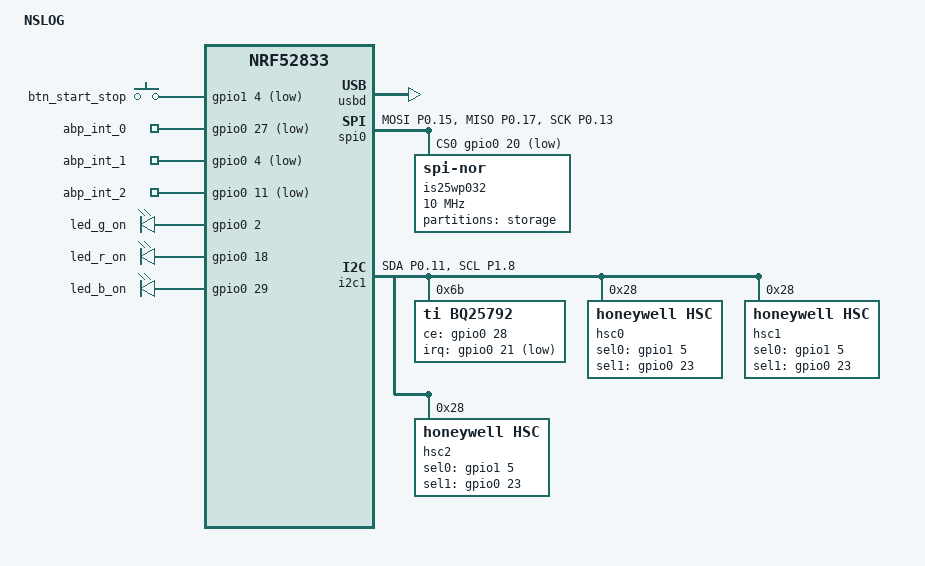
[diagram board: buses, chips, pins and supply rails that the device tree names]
// Copyright (c) 2022 Nordic Semiconductor ASA
// SPDX-License-Identifier: Apache-2.0

/dts-v1/;
#include <nordic/nrf52833_qiaa.dtsi>

/ {
	model = "NSLOG";
	compatible = "nooshee,nslog";

	chosen {
		zephyr,sram = &sram0;
		zephyr,flash = &flash0;
		zephyr,code-partition = &slot0_partition;
		zephyr,shell-uart = &cdc_acm_uart0;
		nordic,pm-ext-flash = &is25wp032;

	};

	ioctl {
		compatible = "gpio-keys";
		// UI 
		btn_start_stop { gpios = <&gpio1 4 GPIO_ACTIVE_LOW>; }; // P1.04
		abp_int_0 { gpios = <&gpio0 27 GPIO_ACTIVE_LOW>; }; // P0.27
		abp_int_1 { gpios = <&gpio0 4 GPIO_ACTIVE_LOW>; }; // P0.04
		abp_int_2 { gpios = <&gpio0 11 GPIO_ACTIVE_LOW>; }; // P0.11
	};

    leds {
        compatible = "gpio-leds";
        led_g_on { gpios = <&gpio0 2 GPIO_ACTIVE_HIGH>; }; // P0.02
        led_r_on { gpios = <&gpio0 18 GPIO_ACTIVE_HIGH>; }; // P0.18
        led_b_on { gpios = <&gpio0 29 GPIO_ACTIVE_HIGH>; }; // P0.29
    };

};


&pinctrl {
	spi_psel:  spi_psel{group1 {psels = <NRF_PSEL(SPIM_MOSI, 0, 15)>,<NRF_PSEL(SPIM_MISO, 0, 17)>,<NRF_PSEL(SPIM_SCK, 0, 13)>;};};
	i2c_psel: i2c_psel{group1 {psels = <NRF_PSEL(TWIM_SDA, 0, 11)>,<NRF_PSEL(TWIM_SCL, 1, 8)>;};};
};

&gpio0 {
	status = "okay";
};

&gpio1 {
	status = "okay";
};

&gpiote {
	status = "okay";
	interrupts = <6 NRF_DEFAULT_IRQ_PRIORITY>;
};

&usbd {
	compatible = "nordic,nrf-usbd";
	status = "okay"; 

	
	cdc_acm_uart0: cdc_acm_uart0 {
		compatible = "zephyr,cdc-acm-uart";
	};
};


&spi0 {
	status = "okay";
	compatible = "nordic,nrf-spi";
	pinctrl-0 = <&spi_psel>;
    pinctrl-1 = <&spi_psel>;
    pinctrl-names = "default", "sleep";
	cs-gpios = <&gpio0 20 GPIO_ACTIVE_LOW>;


	is25wp032: is25wp032@0 {
        compatible = "jedec,spi-nor";
        reg = <0>;
        spi-max-frequency = <10000000>;
        size = <DT_SIZE_M(32)>;
        jedec-id = [9D 70 16];  
        status = "okay";

		partitions {
			compatible = "fixed-partitions";
			#address-cells = <1>;
			#size-cells = <1>;
	
			external_flash: partition@0 {
				label = "storage";
				reg = <0x0 0x400000>;  // Define the size according to your storage needs
			};
		};


    };
};

&i2c1 {
	compatible = "nordic,nrf-twim";
	status = "okay";
	pinctrl-0 = <&i2c_psel>;
	pinctrl-1 = <&i2c_psel>;
	pinctrl-names = "default", "sleep";

	bq25792: bq25792@6b 
	{
		compatible = "ti,bq25792";
		reg = <0x6b>;
		ce-gpios = <&gpio0 28 GPIO_ACTIVE_HIGH>; 
		irq-gpios = <&gpio0 21 (GPIO_ACTIVE_LOW | GPIO_PULL_UP)>; 
		charge-ilim = <1000>; 
		input-ilim = <1000>; 
	};

	hsc0: hsc0@28
	{
		compatible = "honeywell,hsc";
		reg = <0x28>;
		sel0-gpios = <&gpio1 5 GPIO_ACTIVE_HIGH>;
		sel1-gpios = <&gpio0 23 GPIO_ACTIVE_HIGH>;
		id = <0>; 
	};

	hsc1: hsc1@28
	{
		compatible = "honeywell,hsc";
		reg = <0x28>;
		sel0-gpios = <&gpio1 5 GPIO_ACTIVE_HIGH>;
		sel1-gpios = <&gpio0 23 GPIO_ACTIVE_HIGH>;
		id = <1>; 
	};

	hsc2: hsc2@28
	{
		compatible = "honeywell,hsc";
		reg = <0x28>;
		sel0-gpios = <&gpio1 5 GPIO_ACTIVE_HIGH>;
		sel1-gpios = <&gpio0 23 GPIO_ACTIVE_HIGH>;
		id = <2>; 
	};
};


&flash0 {
	partitions {
		compatible = "fixed-partitions";
		#address-cells = <1>;
		#size-cells = <1>;

		boot_partition: partition@0 {
			label = "mcuboot";
			reg = <0x0 0xc000>;
		};
		slot0_partition: partition@c000 {
			label = "image-0";
			reg = <0xc000 0x32000>;
		};
		slot1_partition: partition@3e000 {
			label = "image-1";
			reg = <0x3e000 0x32000>;
		};
		scratch_partition: partition@70000 {
			label = "image-scratch";
			reg = <0x70000 0xa000>;
		};
	};
};
